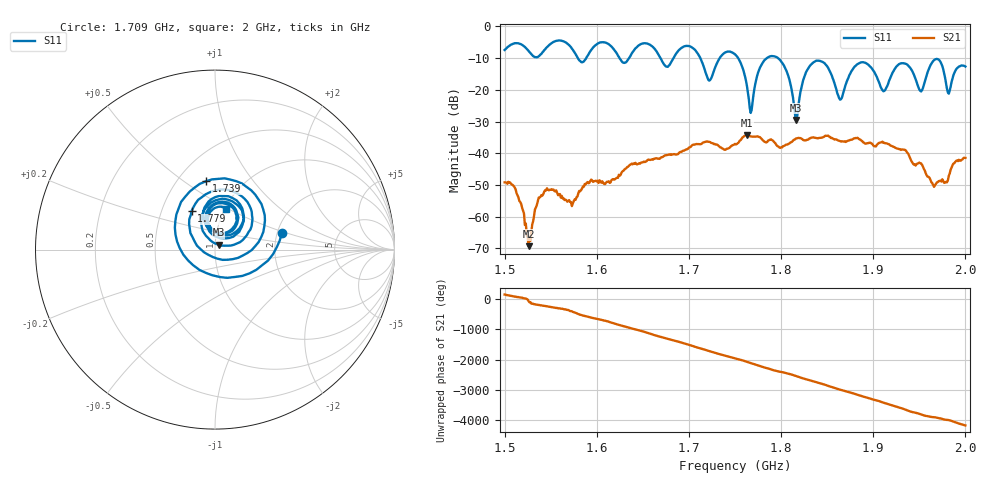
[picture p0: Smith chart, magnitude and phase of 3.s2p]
! NanoVNA-App by SYSJOINT et al v1.1.209 (+OD18)
! Date: 2026-01-21 14:24:45
! Start: 1,5GHz Stop: 2GHz Points: 501
! S-Parameter data: F S11 S21 S12 S22
# Hz S RI R 50
!  Frequency  S11_Real  S11_Imag  S21_Real  S21_Imag  S12_Real  S12_Imag  S22_Real  S22_Imag
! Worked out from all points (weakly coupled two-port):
!   501 points, 1.5 GHz to 2 GHz, reference 50 ohm
!   highest |S21| = -34.28 dB at 1.763 GHz (marker M1); lowest = -69.3 dB at 1.526 GHz (marker M2)
!   lowest |S11| = -29.5 dB at 1.816 GHz (marker M3), VSWR 1.07, Z = 51.9 + j2.84 ohm
!   |S11| at or under -10 dB: 1.712 GHz to 1.733 GHz (21.13 MHz wide, 1.23 % of centre); 1.753 GHz to 1.785 GHz (31.28 MHz wide, 1.77 % of centre); 1.797 GHz to end of sweep (the widest 3 of 6)
!   S12 and S22 are empty: the file has one direction only
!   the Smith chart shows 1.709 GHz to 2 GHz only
!   S11 on the Smith chart (normalised r, x): 1.709 GHz: 2.12, +0.45; 1.739 GHz: 0.68, +0.61; 1.779 GHz: 0.71, +0.32; 2 GHz: 1.01, +0.48
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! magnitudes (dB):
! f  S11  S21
! 1.5 GHz  -7.5  -49.2
! 1.526 GHz  -7.8  -69.3
! 1.545 GHz  -6.9  -51.7
! 1.584 GHz  -11.4  -51.1
! 1.667 GHz  -8.9  -41.7
! 1.709 GHz  -8.3  -37.1
! 1.722 GHz  -17.1  -36.4
! 1.739 GHz  -8.3  -38.9
! 1.75 GHz  -8.8  -37.1
! 1.763 GHz  -18.9  -34.3
! 1.768 GHz  -26.5  -34.7
! 1.779 GHz  -12.0  -35.5
! 1.801 GHz  -11.4  -38.2
! 1.816 GHz  -29.5  -35.4
! 1.834 GHz  -11.6  -35.0
! 1.864 GHz  -23.1  -36.2
! 1.886 GHz  -11.5  -35.7
! 1.917 GHz  -17.3  -37.1
! 1.952 GHz  -20.5  -43.2
! 1.966 GHz  -10.7  -50.6
! 1.982 GHz  -21.2  -47.1
! 2 GHz  -12.7  -41.5
